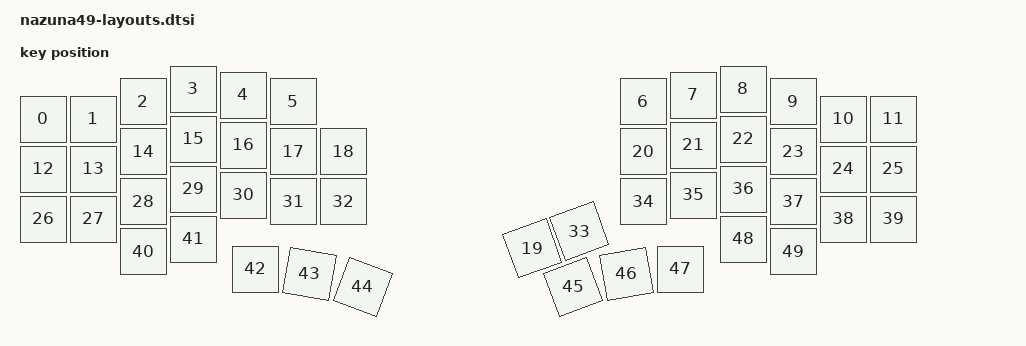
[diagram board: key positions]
// See https://zmk.dev/docs/development/hardware-integration/physical-layouts
// for how to configure this.

#include <physical_layouts.dtsi>

/ {
    default_layout: default_layout {
        compatible = "zmk,physical-layout";
        display-name = "Default Layout";
        transform = <&default_transform>;
        kscan = <&kscan>;

        // Edit this to define the positions and sizes of the keys, or remove it
        // if your keyboard will not support ZMK Studio.
        // https://zmk.dev/docs/development/hardware-integration/physical-layouts#optional-keys-property
         keys  //                     w   h    x    y     rot    rx    ry
            = <&key_physical_attrs 100 100    0   60       0     0     0>
            , <&key_physical_attrs 100 100  100   60       0     0     0>
            , <&key_physical_attrs 100 100  200   25       0     0     0>
            , <&key_physical_attrs 100 100  300    0       0     0     0>
            , <&key_physical_attrs 100 100  400   12       0     0     0>
            , <&key_physical_attrs 100 100  500   25       0     0     0>
            , <&key_physical_attrs 100 100 1200   25       0     0     0>
            , <&key_physical_attrs 100 100 1300   12       0     0     0>
            , <&key_physical_attrs 100 100 1400    0       0     0     0>
            , <&key_physical_attrs 100 100 1500   25       0     0     0>
            , <&key_physical_attrs 100 100 1600   60       0     0     0>
            , <&key_physical_attrs 100 100 1700   60       0     0     0>
            , <&key_physical_attrs 100 100    0  160       0     0     0>
            , <&key_physical_attrs 100 100  100  160       0     0     0>
            , <&key_physical_attrs 100 100  200  125       0     0     0>
            , <&key_physical_attrs 100 100  300  100       0     0     0>
            , <&key_physical_attrs 100 100  400  112       0     0     0>
            , <&key_physical_attrs 100 100  500  125       0     0     0>
            , <&key_physical_attrs 100 100  600  125       0     0     0>
            , <&key_physical_attrs 100 100 1025  240 (-2000)  1275   460>
            , <&key_physical_attrs 100 100 1200  125       0     0     0>
            , <&key_physical_attrs 100 100 1300  112       0     0     0>
            , <&key_physical_attrs 100 100 1400  100       0     0     0>
            , <&key_physical_attrs 100 100 1500  125       0     0     0>
            , <&key_physical_attrs 100 100 1600  160       0     0     0>
            , <&key_physical_attrs 100 100 1700  160       0     0     0>
            , <&key_physical_attrs 100 100    0  260       0     0     0>
            , <&key_physical_attrs 100 100  100  260       0     0     0>
            , <&key_physical_attrs 100 100  200  225       0     0     0>
            , <&key_physical_attrs 100 100  300  200       0     0     0>
            , <&key_physical_attrs 100 100  400  212       0     0     0>
            , <&key_physical_attrs 100 100  500  225       0     0     0>
            , <&key_physical_attrs 100 100  600  225       0     0     0>
            , <&key_physical_attrs 100 100 1125  240 (-2000)  1275   460>
            , <&key_physical_attrs 100 100 1200  225       0     0     0>
            , <&key_physical_attrs 100 100 1300  212       0     0     0>
            , <&key_physical_attrs 100 100 1400  200       0     0     0>
            , <&key_physical_attrs 100 100 1500  225       0     0     0>
            , <&key_physical_attrs 100 100 1600  260       0     0     0>
            , <&key_physical_attrs 100 100 1700  260       0     0     0>
            , <&key_physical_attrs 100 100  200  325       0     0     0>
            , <&key_physical_attrs 100 100  300  300       0     0     0>
            , <&key_physical_attrs 100 100  425  360       0     0     0>
            , <&key_physical_attrs 100 100  525  360    1000   525   460>
            , <&key_physical_attrs 100 100  625  340    2000   525   460>
            , <&key_physical_attrs 100 100 1075  340 (-2000)  1275   460>
            , <&key_physical_attrs 100 100 1175  360 (-1000)  1275   460>
            , <&key_physical_attrs 100 100 1275  360       0     0     0>
            , <&key_physical_attrs 100 100 1400  300       0     0     0>
            , <&key_physical_attrs 100 100 1500  325       0     0     0>
            ;
    };
};
